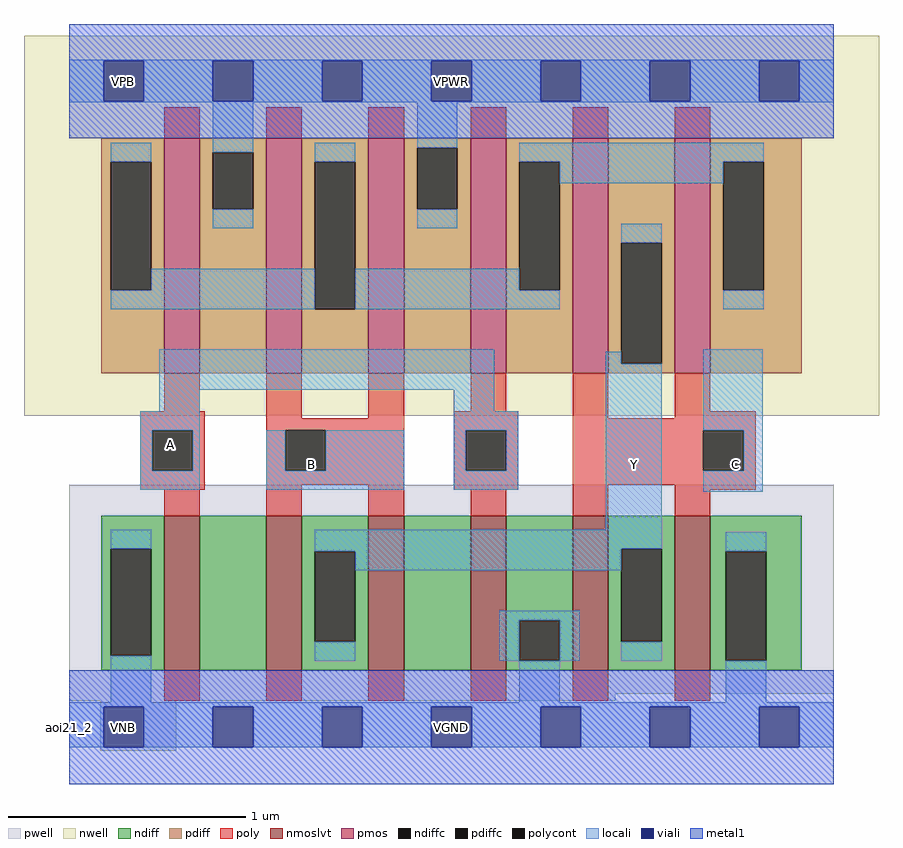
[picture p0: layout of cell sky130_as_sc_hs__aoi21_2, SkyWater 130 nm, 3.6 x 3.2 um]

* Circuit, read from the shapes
.subckt sky130_as_sc_hs__aoi21_2 VNB VPB VPWR VGND A B C Y
XM1 n1 A VGND VNB sky130_fd_pr__nfet_01v8_lvt w=0.65 l=0.15
XM2 Y B n1 VNB sky130_fd_pr__nfet_01v8_lvt w=0.65 l=0.15
XM3 n2 B Y VNB sky130_fd_pr__nfet_01v8_lvt w=0.65 l=0.15
XM4 VGND A n2 VNB sky130_fd_pr__nfet_01v8_lvt w=0.65 l=0.15
XM5 Y C VGND VNB sky130_fd_pr__nfet_01v8_lvt w=0.65 l=0.15 m=2
XM6 VPWR A n3 VPB sky130_fd_pr__pfet_01v8 w=0.99 l=0.15 m=2
XM7 n3 B VPWR VPB sky130_fd_pr__pfet_01v8 w=0.99 l=0.15 m=2
XM8 Y C n3 VPB sky130_fd_pr__pfet_01v8 w=0.99 l=0.15 m=2
.ends

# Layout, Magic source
magic
tech sky130A
magscale 1 2
<< nwell >>
rect -38 262 682 582
<< pwell >>
rect 0 28 644 204
rect 0 22 460 28
rect 26 -20 90 22
<< pmos >>
rect 80 298 110 496
rect 166 298 196 496
rect 252 298 282 496
rect 338 298 368 496
rect 424 298 454 496
rect 510 298 540 496
<< nmoslvt >>
rect 80 48 110 178
rect 166 48 196 178
rect 252 48 282 178
rect 338 48 368 178
rect 424 48 454 178
rect 510 48 540 178
<< ndiff >>
rect 27 150 80 178
rect 27 60 35 150
rect 69 60 80 150
rect 27 48 80 60
rect 110 48 166 178
rect 196 148 252 178
rect 196 72 207 148
rect 241 72 252 148
rect 196 48 252 72
rect 282 48 338 178
rect 368 90 424 178
rect 368 56 379 90
rect 413 56 424 90
rect 368 48 424 56
rect 454 150 510 178
rect 454 72 465 150
rect 499 72 510 150
rect 454 48 510 72
rect 540 148 617 178
rect 540 56 553 148
rect 587 56 617 148
rect 540 48 617 56
<< pdiff >>
rect 27 476 80 496
rect 27 368 35 476
rect 69 368 80 476
rect 27 298 80 368
rect 110 484 166 496
rect 110 436 121 484
rect 155 436 166 484
rect 110 298 166 436
rect 196 476 252 496
rect 196 352 207 476
rect 241 352 252 476
rect 196 298 252 352
rect 282 488 338 496
rect 282 436 293 488
rect 327 436 338 488
rect 282 298 338 436
rect 368 476 424 496
rect 368 368 379 476
rect 413 368 424 476
rect 368 298 424 368
rect 454 408 510 496
rect 454 306 465 408
rect 499 306 510 408
rect 454 298 510 306
rect 540 476 617 496
rect 540 368 551 476
rect 585 368 617 476
rect 540 298 617 368
<< ndiffc >>
rect 35 60 69 150
rect 207 72 241 148
rect 379 56 413 90
rect 465 72 499 150
rect 553 56 587 148
<< pdiffc >>
rect 35 368 69 476
rect 121 436 155 484
rect 207 352 241 476
rect 293 436 327 488
rect 379 368 413 476
rect 465 306 499 408
rect 551 368 585 476
<< poly >>
rect 80 496 110 522
rect 166 496 196 522
rect 252 496 282 522
rect 338 496 368 522
rect 424 496 454 522
rect 510 496 540 522
rect 80 266 110 298
rect 60 250 114 266
rect 60 216 70 250
rect 104 216 114 250
rect 60 200 114 216
rect 166 260 196 298
rect 252 260 282 298
rect 338 266 368 298
rect 166 250 282 260
rect 166 216 182 250
rect 216 216 282 250
rect 166 204 282 216
rect 80 178 110 200
rect 166 178 196 204
rect 252 178 282 204
rect 324 250 378 266
rect 324 216 334 250
rect 368 216 378 250
rect 324 200 378 216
rect 424 260 454 298
rect 510 266 540 298
rect 510 260 578 266
rect 424 250 578 260
rect 424 216 534 250
rect 568 216 578 250
rect 424 204 578 216
rect 338 178 368 200
rect 424 178 454 204
rect 510 200 578 204
rect 510 178 540 200
rect 80 22 110 48
rect 166 22 196 48
rect 252 22 282 48
rect 338 22 368 48
rect 424 22 454 48
rect 510 22 540 48
<< polycont >>
rect 70 216 104 250
rect 182 216 216 250
rect 334 216 368 250
rect 534 216 568 250
<< locali >>
rect 0 561 644 562
rect 0 527 29 561
rect 63 527 121 561
rect 155 527 213 561
rect 247 527 305 561
rect 339 527 397 561
rect 431 527 489 561
rect 523 527 581 561
rect 615 527 644 561
rect 0 526 644 527
rect 35 476 69 492
rect 121 484 155 526
rect 121 420 155 436
rect 207 476 241 492
rect 69 368 207 386
rect 35 352 207 368
rect 293 488 327 526
rect 293 420 327 436
rect 379 476 585 492
rect 241 368 379 386
rect 413 458 551 476
rect 241 352 413 368
rect 465 408 499 424
rect 76 284 358 318
rect 76 266 110 284
rect 60 250 110 266
rect 324 266 358 284
rect 452 306 465 316
rect 551 352 585 368
rect 324 250 378 266
rect 60 216 70 250
rect 104 216 110 250
rect 60 200 110 216
rect 166 216 182 250
rect 216 216 282 250
rect 166 200 282 216
rect 324 216 334 250
rect 368 216 378 250
rect 324 200 378 216
rect 452 166 499 306
rect 534 250 584 318
rect 568 216 584 250
rect 534 198 584 216
rect 35 150 69 166
rect 35 21 69 60
rect 207 150 499 166
rect 207 148 465 150
rect 241 132 465 148
rect 207 56 241 72
rect 362 90 430 98
rect 362 56 379 90
rect 413 56 430 90
rect 465 56 499 72
rect 553 148 587 164
rect 379 21 413 56
rect 553 21 587 56
rect 0 17 644 21
rect 0 -17 29 17
rect 63 -17 121 17
rect 155 -17 213 17
rect 247 -17 305 17
rect 339 -17 397 17
rect 431 -17 489 17
rect 523 -17 581 17
rect 615 -17 644 17
<< viali >>
rect 29 527 63 561
rect 121 527 155 561
rect 213 527 247 561
rect 305 527 339 561
rect 397 527 431 561
rect 489 527 523 561
rect 581 527 615 561
rect 29 -17 63 17
rect 121 -17 155 17
rect 213 -17 247 17
rect 305 -17 339 17
rect 397 -17 431 17
rect 489 -17 523 17
rect 581 -17 615 17
<< metal1 >>
rect 0 561 644 592
rect 0 527 29 561
rect 63 527 121 561
rect 155 527 213 561
rect 247 527 305 561
rect 339 527 397 561
rect 431 527 489 561
rect 523 527 581 561
rect 615 527 644 561
rect 0 496 644 527
rect 0 17 644 48
rect 0 -17 29 17
rect 63 -17 121 17
rect 155 -17 213 17
rect 247 -17 305 17
rect 339 -17 397 17
rect 431 -17 489 17
rect 523 -17 581 17
rect 615 -17 644 17
rect 0 -48 644 -17
<< labels >>
rlabel comment s 0 0 0 0 4 aoi21_2
flabel pwell s 29 -17 63 17 0 FreeSans 200 0 0 0 VNB
port 1 nsew ground bidirectional
flabel pwell s 46 0 46 0 0 FreeSans 200 0 0 0 VNB
flabel nwell s 29 527 63 561 0 FreeSans 200 0 0 0 VPB
port 2 nsew power bidirectional
flabel nwell s 46 544 46 544 0 FreeSans 200 0 0 0 VPB
flabel metal1 s 29 527 63 561 0 FreeSans 200 0 0 0 VPWR
port 3 nsew power bidirectional abutment
flabel metal1 s 29 -17 63 17 0 FreeSans 200 0 0 0 VGND
port 4 nsew ground bidirectional abutment
rlabel metal1 s 0 -48 644 48 1 VGND
port 4 nsew ground bidirectional abutment
rlabel metal1 s 0 496 644 592 1 VPWR
port 3 nsew power bidirectional abutment
flabel locali s 68 221 102 255 0 FreeSans 200 0 0 0 A
port 5 nsew signal input
flabel locali s 85 238 85 238 0 FreeSans 200 0 0 0 A
flabel locali s 187 204 221 238 0 FreeSans 200 0 0 0 B
port 6 nsew signal input
flabel locali s 204 221 204 221 0 FreeSans 200 0 0 0 B
flabel locali s 544 204 578 238 0 FreeSans 200 0 0 0 C
port 7 nsew signal input
flabel locali s 561 221 561 221 0 FreeSans 200 0 0 0 C
flabel locali s 459 204 493 238 0 FreeSans 200 0 0 0 Y
port 8 nsew signal output
flabel locali s 476 221 476 221 0 FreeSans 200 0 0 0 Y
<< properties >>
string FIXED_BBOX 0 0 644 544
string GDS_FILE $PDKPATH/libs.ref/sky130_as_sc_hs/gds/sky130_as_sc_hs__aoi21_2.gds
string LEFclass CORE
string LEFsite unithd
string LEFsymmetry X Y R90
string MASKHINTS_LVTN 0 -4 644 220
string MASKHINTS_NSDM 0 -38 644 209
string MASKHINTS_PSDM 0 273 644 582
<< end >>
